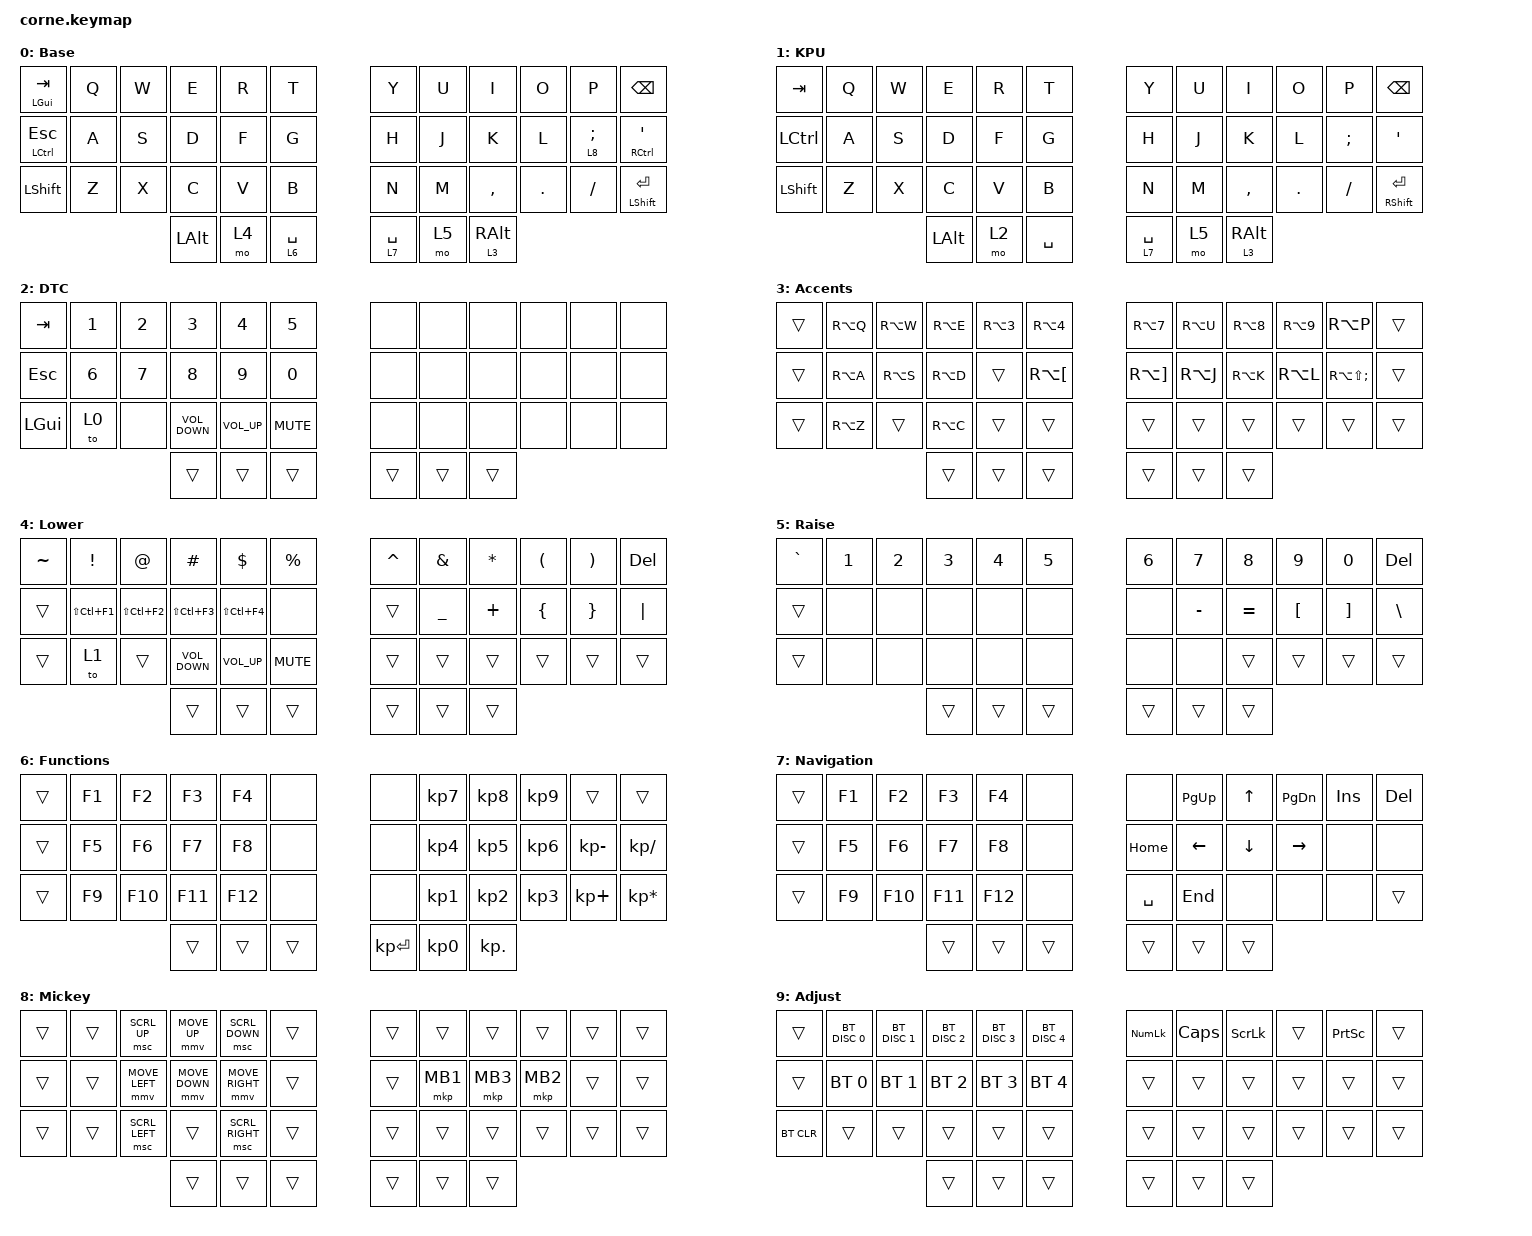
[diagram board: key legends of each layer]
/*
 * Copyright (c) 2020 The ZMK Contributors
 *
 * SPDX-License-Identifier: MIT
 */

#define ZMK_POINTING_DEFAULT_MOVE_VAL 1500
#define ZMK_POINTING_DEFAULT_SCRL_VAL 30

#include <behaviors.dtsi>
#include <dt-bindings/zmk/bt.h>
#include <dt-bindings/zmk/keys.h>
#include <dt-bindings/zmk/pointing.h>

&mmv { acceleration-exponent = <2>; };

/ {
    behaviors {
        mth: mth {
            compatible = "zmk,behavior-hold-tap";
            label = "Mod/Tap/Hold";
            bindings = <&kp>, <&kp>;

            #binding-cells = <2>;
            tapping-term-ms = <200>;
            quick-tap-ms = <200>;
            flavor = "hold-preferred";
        };

        lth: lth {
            compatible = "zmk,behavior-hold-tap";
            label = "Layer/Tap/Hold";
            bindings = <&mo>, <&kp>;

            #binding-cells = <2>;
            tapping-term-ms = <200>;
            quick-tap-ms = <200>;
        };

        mtt: mtt {
            compatible = "zmk,behavior-hold-tap";
            label = "Mot/Tap/Tap-preferred";
            bindings = <&kp>, <&kp>;

            #binding-cells = <2>;
            tapping-term-ms = <200>;
            flavor = "tap-preferred";
        };

        ltt: ltt {
            compatible = "zmk,behavior-hold-tap";
            label = "Layer/Tap/Tap";
            bindings = <&mo>, <&kp>;

            #binding-cells = <2>;
            tapping-term-ms = <200>;
            flavor = "tap-preferred";
            quick-tap-ms = <200>;
        };
    };

    combos {
        compatible = "zmk,combos";

        combo_caps_word {
            bindings = <&caps_word>;
            key-positions = <24 35>;
            layers = <0>;
            slow-release;
        };
    };

    keymap {
        compatible = "zmk,keymap";

        default_layer {
            // -----------------------------------------------------------------------------------------
            // |  TAB |  Q  |  W  |  E  |  R  |  T  |   |  Y  |  U   |  I  |  O  |  P  | BKSP |
            // | CTRL |  A  |  S  |  D  |  F  |  G  |   |  H  |  J   |  K  |  L  |  ;  |  '   |
            // | SHFT |  Z  |  X  |  C  |  V  |  B  |   |  N  |  M   |  ,  |  .  |  /  | ESC  |
            //                    | GUI | LWR | SPC |   | ENT | RSE  | ALT |

            display-name = "Base";
            bindings = <
&mth LEFT_GUI TAB  &kp Q  &kp W  &kp E         &kp R  &kp T           &kp Y         &kp U  &kp I        &kp O    &kp P        &kp BSPC
&mt LCTRL ESC      &kp A  &kp S  &kp D         &kp F  &kp G           &kp H         &kp J  &kp K        &kp L    &ltt 8 SEMI  &mtt RCTRL SQT
&kp LSHFT          &kp Z  &kp X  &kp C         &kp V  &kp B           &kp N         &kp M  &kp COMMA    &kp DOT  &kp FSLH     &mth LSHFT ENTER
                                 &kp LEFT_ALT  &mo 4  &ltt 6 SPACE    &ltt 7 SPACE  &mo 5  &lth 3 RALT
            >;
        };

        gaming {
            bindings = <
&kp TAB    &kp Q  &kp W  &kp E     &kp R  &kp T        &kp Y        &kp U  &kp I        &kp O    &kp P     &kp BSPC
&kp LCTRL  &kp A  &kp S  &kp D     &kp F  &kp G        &kp H        &kp J  &kp K        &kp L    &kp SEMI  &kp SQT
&kp LSHFT  &kp Z  &kp X  &kp C     &kp V  &kp B        &kp N        &kp M  &kp COMMA    &kp DOT  &kp FSLH  &mth RSHFT ENTER
                         &kp LALT  &mo 2  &kp SPACE    &lt 7 SPACE  &mo 5  &lth 3 RALT
            >;

            label = "KPU";
        };

        gaming2 {
            bindings = <
&kp TAB   &kp N1  &kp N2  &kp N3             &kp N4        &kp N5        &none   &none   &none   &none  &none  &none
&kp ESC   &kp N6  &kp N7  &kp N8             &kp N9        &kp N0        &none   &none   &none   &none  &none  &none
&kp LGUI  &to 0   &none   &kp C_VOLUME_DOWN  &kp C_VOL_UP  &kp C_MUTE    &none   &none   &none   &none  &none  &none
                          &trans             &trans        &trans        &trans  &trans  &trans
            >;

            label = "DTC";
        };

        accents {
            label = "Accents";
            bindings = <
&trans  &kp RA(Q)  &kp RA(W)  &kp RA(E)  &kp RA(N3)  &kp RA(N4)              &kp RA(N7)             &kp RA(U)  &kp RA(N8)  &kp RA(N9)  &kp RA(P)              &trans
&trans  &kp RA(A)  &kp RA(S)  &kp RA(D)  &trans      &kp RA(LEFT_BRACKET)    &kp RA(RIGHT_BRACKET)  &kp RA(J)  &kp RA(K)   &kp RA(L)   &kp RA(LS(SEMICOLON))  &trans
&trans  &kp RA(Z)  &trans     &kp RA(C)  &trans      &trans                  &trans                 &trans     &trans      &trans      &trans                 &trans
                              &trans     &trans      &trans                  &trans                 &trans     &trans
            >;
        };

        lower_layer {
            // -----------------------------------------------------------------------------------------
            // |  TAB |  1  |  2  |  3  |  4  |  5  |   |  6  |  7  |  8  |  9  |  0  | BKSP |
            // | BTCLR| BT1 | BT2 | BT3 | BT4 | BT5 |   | LFT | DWN |  UP | RGT |     |      |
            // | SHFT |     |     |     |     |     |   |     |     |     |     |     |      |
            //                    | GUI |     | SPC |   | ENT |     | ALT |

            display-name = "Lower";
            bindings = <
&kp TILDE  &kp EXCL        &kp AT          &kp POUND          &kp DLLR         &kp PRCNT     &kp CARET  &kp AMPS   &kp STAR  &kp LPAR  &kp RPAR  &kp DEL
&trans     &kp LS(LC(F1))  &kp LS(LC(F2))  &kp LS(LC(F3))     &kp LS(LC(F4))   &none         &trans     &kp UNDER  &kp PLUS  &kp LBRC  &kp RBRC  &kp PIPE
&trans     &to 1           &trans          &kp C_VOLUME_DOWN  &kp C_VOLUME_UP  &kp C_MUTE    &trans     &trans     &trans    &trans    &trans    &trans
                                           &trans             &trans           &trans        &trans     &trans     &trans
            >;

            label = "Lower";
        };

        raise_layer {
            // -----------------------------------------------------------------------------------------
            // |  TAB |  !  |  @  |  #  |  $  |  %  |   |  ^  |  &  |  *  |  (  |  )  | BKSP |
            // | CTRL |     |     |     |     |     |   |  -  |  =  |  [  |  ]  |  \  |  `   |
            // | SHFT |     |     |     |     |     |   |  _  |  +  |  {  |  }  | "|" |  ~   |
            //                    | GUI |     | SPC |   | ENT |     | ALT |

            display-name = "Raise";
            bindings = <
&kp GRAVE  &kp NUMBER_1  &kp NUMBER_2  &kp NUMBER_3  &kp NUMBER_4  &kp N5    &kp NUMBER_6  &kp N7     &kp N8     &kp N9            &kp N0             &kp DEL
&trans     &none         &none         &none         &none         &none     &none         &kp MINUS  &kp EQUAL  &kp LEFT_BRACKET  &kp RIGHT_BRACKET  &kp BACKSLASH
&trans     &none         &none         &none         &none         &none     &none         &none      &trans     &trans            &trans             &trans
                                       &trans        &trans        &trans    &trans        &trans     &trans
            >;

            label = "Raise";
        };

        fun {
            label = "Functions";
            bindings = <
&trans  &kp F1  &kp F2   &kp F3   &kp F4   &none     &none         &kp KP_NUMBER_7  &kp KP_NUMBER_8  &kp KP_NUMBER_9  &trans        &trans
&trans  &kp F5  &kp F6   &kp F7   &kp F8   &none     &none         &kp KP_NUMBER_4  &kp KP_NUMBER_5  &kp KP_NUMBER_6  &kp KP_MINUS  &kp KP_DIVIDE
&trans  &kp F9  &kp F10  &kp F11  &kp F12  &none     &none         &kp KP_NUMBER_1  &kp KP_NUMBER_2  &kp KP_NUMBER_3  &kp KP_PLUS   &kp KP_MULTIPLY
                         &trans   &trans   &trans    &kp KP_ENTER  &kp KP_NUMBER_0  &kp KP_DOT
            >;
        };

        nav {
            label = "Navigation";
            bindings = <
&trans  &kp F1  &kp F2   &kp F3   &kp F4   &none     &none      &kp PG_UP       &kp UP_ARROW    &kp PAGE_DOWN  &kp INS  &kp DEL
&trans  &kp F5  &kp F6   &kp F7   &kp F8   &none     &kp HOME   &kp LEFT_ARROW  &kp DOWN_ARROW  &kp RIGHT      &none    &none
&trans  &kp F9  &kp F10  &kp F11  &kp F12  &none     &kp SPACE  &kp END         &none           &none          &none    &trans
                         &trans   &trans   &trans    &trans     &trans          &trans
            >;
        };

        mouse {
            bindings = <
&trans  &trans  &msc SCRL_UP    &mmv MOVE_UP    &msc SCRL_DOWN   &trans    &trans  &trans    &trans    &trans    &trans  &trans
&trans  &trans  &mmv MOVE_LEFT  &mmv MOVE_DOWN  &mmv MOVE_RIGHT  &trans    &trans  &mkp MB1  &mkp MB3  &mkp MB2  &trans  &trans
&trans  &trans  &msc SCRL_LEFT  &trans          &msc SCRL_RIGHT  &trans    &trans  &trans    &trans    &trans    &trans  &trans
                                &trans          &trans           &trans    &trans  &trans    &trans
            >;

            label = "Mickey";
        };

        adjust {
            bindings = <
&trans      &bt BT_DISC 0  &bt BT_DISC 1  &bt BT_DISC 2  &bt BT_DISC 3  &bt BT_DISC 4    &kp KP_NUM  &kp CAPSLOCK  &kp SCROLLLOCK  &trans  &kp PRINTSCREEN  &trans
&trans      &bt BT_SEL 0   &bt BT_SEL 1   &bt BT_SEL 2   &bt BT_SEL 3   &bt BT_SEL 4     &trans      &trans        &trans          &trans  &trans           &trans
&bt BT_CLR  &trans         &trans         &trans         &trans         &trans           &trans      &trans        &trans          &trans  &trans           &trans
                                          &trans         &trans         &trans           &trans      &trans        &trans
            >;

            label = "Adjust";
        };
    };

    conditional_layers {
        compatible = "zmk,conditional-layers";

        adjust {
            if-layers = <4 5>;
            then-layer = <9>;
        };
    };
};
